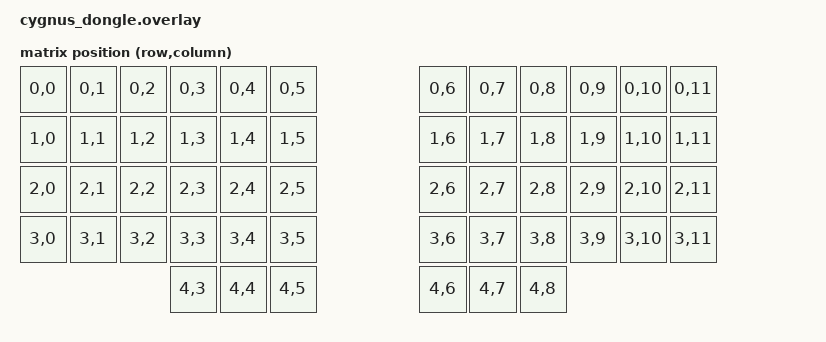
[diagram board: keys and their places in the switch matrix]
#include <dt-bindings/zmk/matrix_transform.h>
#include <physical_layouts.dtsi>

/ {
    chosen {
        zmk,kscan = &mock_kscan;
        zmk,physical-layout = &physical_layout0;
        zephyr,display = &oled;
    };

    default_transform: keymap_transform_0 {
        compatible = "zmk,matrix-transform";
        columns = <16>;
        rows = <4>;
// | SW6  | SW5  | SW4  | SW3  | SW2  | SW1  |      | SW1  | SW2  | SW3  | SW4  | SW5  | SW6  |
// | SW12 | SW11 | SW10 | SW9  | SW8  | SW7  |      | SW7  | SW8  | SW9  | SW10 | SW11 | SW12 |
// | SW18 | SW17 | SW16 | SW15 | SW14 | SW13 |      | SW13 | SW14 | SW15 | SW16 | SW17 | SW18 |
// | SW24 | SW23 | SW22 | SW21 | SW20 | SW19 |      | SW19 | SW20 | SW21 | SW22 | SW23 | SW24 |
//                      | SW29 | SW28 | SW27 |      | SW27 | SW28 | SW29 |
        map = <
RC(0,0) RC(0,1) RC(0,2) RC(0,3) RC(0,4) RC(0,5)     RC(0,6) RC(0,7) RC(0,8) RC(0,9) RC(0,10) RC(0,11)
RC(1,0) RC(1,1) RC(1,2) RC(1,3) RC(1,4) RC(1,5)     RC(1,6) RC(1,7) RC(1,8) RC(1,9) RC(1,10) RC(1,11)
RC(2,0) RC(2,1) RC(2,2) RC(2,3) RC(2,4) RC(2,5)     RC(2,6) RC(2,7) RC(2,8) RC(2,9) RC(2,10) RC(2,11)
RC(3,0) RC(3,1) RC(3,2) RC(3,3) RC(3,4) RC(3,5)     RC(3,6) RC(3,7) RC(3,8) RC(3,9) RC(3,10) RC(3,11)
                        RC(4,3) RC(4,4) RC(4,5)     RC(4,6) RC(4,7) RC(4,8)
        >;
    };

    mock_kscan: mock_kscan_0 {
        compatible = "zmk,kscan-mock";
        columns = <0>;
        rows = <0>;
        events = <0>;
    };

    physical_layout0: physical_layout_0 {
        compatible = "zmk,physical-layout";
        display-name = "Default";
        transform = <&default_transform>;

        keys  //                     w   h    x    y     rot    rx    ry
            = <&key_physical_attrs 100 100    0    0       0     0     0>
            , <&key_physical_attrs 100 100  100    0       0     0     0>
            , <&key_physical_attrs 100 100  200    0       0     0     0>
            , <&key_physical_attrs 100 100  300    0       0     0     0>
            , <&key_physical_attrs 100 100  400    0       0     0     0>
            , <&key_physical_attrs 100 100  500    0       0     0     0>
            , <&key_physical_attrs 100 100  800    0       0     0     0>
            , <&key_physical_attrs 100 100  900    0       0     0     0>
            , <&key_physical_attrs 100 100 1000    0       0     0     0>
            , <&key_physical_attrs 100 100 1100    0       0     0     0>
            , <&key_physical_attrs 100 100 1200    0       0     0     0>
            , <&key_physical_attrs 100 100 1300    0       0     0     0>
            , <&key_physical_attrs 100 100    0  100       0     0     0>
            , <&key_physical_attrs 100 100  100  100       0     0     0>
            , <&key_physical_attrs 100 100  200  100       0     0     0>
            , <&key_physical_attrs 100 100  300  100       0     0     0>
            , <&key_physical_attrs 100 100  400  100       0     0     0>
            , <&key_physical_attrs 100 100  500  100       0     0     0>
            , <&key_physical_attrs 100 100  800  100       0     0     0>
            , <&key_physical_attrs 100 100  900  100       0     0     0>
            , <&key_physical_attrs 100 100 1000  100       0     0     0>
            , <&key_physical_attrs 100 100 1100  100       0     0     0>
            , <&key_physical_attrs 100 100 1200  100       0     0     0>
            , <&key_physical_attrs 100 100 1300  100       0     0     0>
            , <&key_physical_attrs 100 100    0  200       0     0     0>
            , <&key_physical_attrs 100 100  100  200       0     0     0>
            , <&key_physical_attrs 100 100  200  200       0     0     0>
            , <&key_physical_attrs 100 100  300  200       0     0     0>
            , <&key_physical_attrs 100 100  400  200       0     0     0>
            , <&key_physical_attrs 100 100  500  200       0     0     0>
            , <&key_physical_attrs 100 100  800  200       0     0     0>
            , <&key_physical_attrs 100 100  900  200       0     0     0>
            , <&key_physical_attrs 100 100 1000  200       0     0     0>
            , <&key_physical_attrs 100 100 1100  200       0     0     0>
            , <&key_physical_attrs 100 100 1200  200       0     0     0>
            , <&key_physical_attrs 100 100 1300  200       0     0     0>
            , <&key_physical_attrs 100 100    0  300       0     0     0>
            , <&key_physical_attrs 100 100  100  300       0     0     0>
            , <&key_physical_attrs 100 100  200  300       0     0     0>
            , <&key_physical_attrs 100 100  300  300       0     0     0>
            , <&key_physical_attrs 100 100  400  300       0     0     0>
            , <&key_physical_attrs 100 100  500  300       0     0     0>
            , <&key_physical_attrs 100 100  800  300       0     0     0>
            , <&key_physical_attrs 100 100  900  300       0     0     0>
            , <&key_physical_attrs 100 100 1000  300       0     0     0>
            , <&key_physical_attrs 100 100 1100  300       0     0     0>
            , <&key_physical_attrs 100 100 1200  300       0     0     0>
            , <&key_physical_attrs 100 100 1300  300       0     0     0>
            , <&key_physical_attrs 100 100  300  400       0     0     0>
            , <&key_physical_attrs 100 100  400  400       0     0     0>
            , <&key_physical_attrs 100 100  500  400       0     0     0>
            , <&key_physical_attrs 100 100  800  400       0     0     0>
            , <&key_physical_attrs 100 100  900  400       0     0     0>
            , <&key_physical_attrs 100 100 1000  400       0     0     0>
            ;
    };
};

&pinctrl {
    i2c0_default: i2c0_default {
        group1 {
            psels = <NRF_PSEL(TWIM_SDA, 0, 17)>,
                <NRF_PSEL(TWIM_SCL, 0, 20)>;
        };
    };

    i2c0_sleep: i2c0_sleep {
        group1 {
            psels = <NRF_PSEL(TWIM_SDA, 0,17)>,
                <NRF_PSEL(TWIM_SCL, 0, 20)>;
            low-power-enable;
        };
    };	
}; 

&i2c0 {
    status = "okay";
    compatible = "nordic,nrf-twi";
    pinctrl-0 = <&i2c0_default>;
    pinctrl-1 = <&i2c0_sleep>;

    oled: ssd1306@3c {
        compatible = "solomon,ssd1306fb";
        reg = <0x3c>;
        width = <128>;
        height = <64>;
        segment-offset = <0>;
        page-offset = <0>;
        display-offset = <0>;
        multiplex-ratio = <63>;
        segment-remap;
        com-invdir;
        inversion-on;
        prechargep = <0x22>;
    };
};

